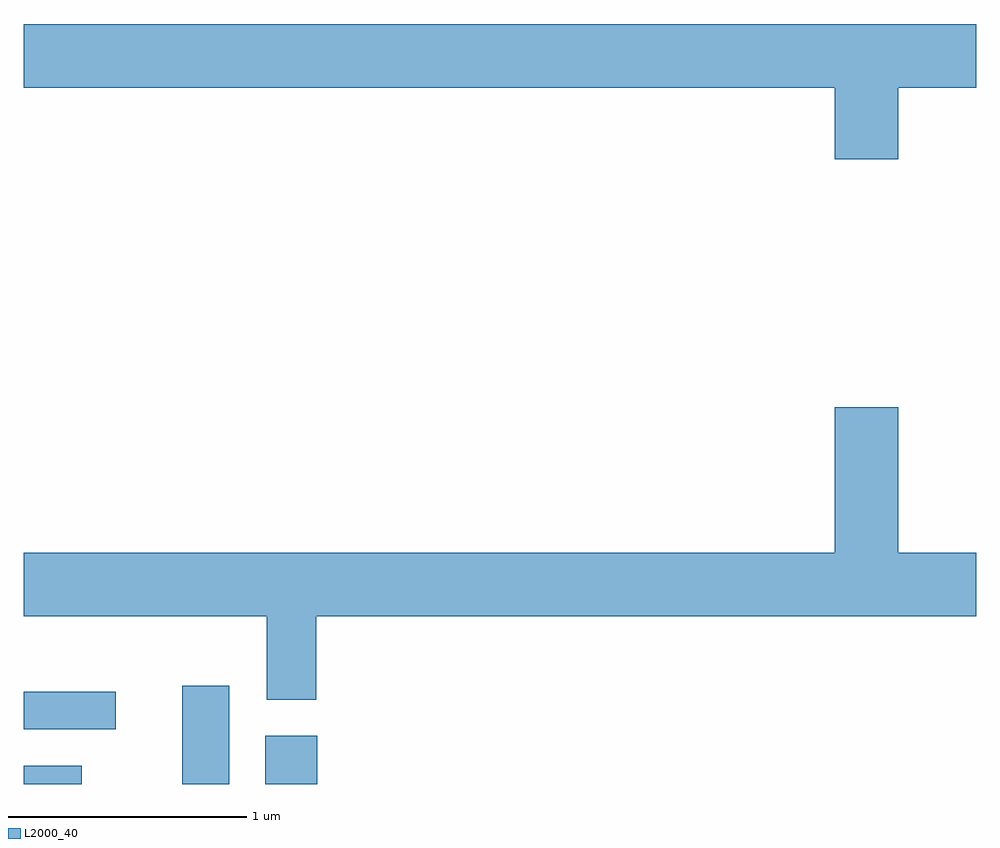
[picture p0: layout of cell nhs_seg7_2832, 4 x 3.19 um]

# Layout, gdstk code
import gdstk
lib = gdstk.Library(unit=1e-6, precision=1e-09)
def R(c, l, rs):  # rectangles x0, y0, x1, y1
    for r in rs: c.add(gdstk.rectangle(r[:2], r[2:], *l))
def P(c, l, *ps):  # polygons
    for p in ps: c.add(gdstk.Polygon(p, *l))
L2000_40 = (2000, 40)

nhs_seg7_2832 = lib.new_cell('nhs_seg7_2832')
R(nhs_seg7_2832, L2000_40, [(271.611,1740.252,271.854,1740.329), (272.276,1740.252,272.474,1740.664), (272.626,1740.252,272.844,1740.454), (271.611,1740.481,271.998,1740.639)])
P(nhs_seg7_2832, L2000_40, [(275.284,1743.176),(275.611,1743.176),(275.611,1743.444),(271.611,1743.444),(271.611,1743.176),(275.016,1743.176),(275.016,1742.876),(275.284,1742.876)],
  [(272.839,1740.956),(275.611,1740.956),(275.611,1741.224),(275.284,1741.224),(275.284,1741.834),(275.016,1741.834),(275.016,1741.224),(271.611,1741.224),(271.611,1740.956),(272.631,1740.956),(272.631,1740.606),(272.839,1740.606)])

lib.write_gds('nhs_seg7_2832.gds')
